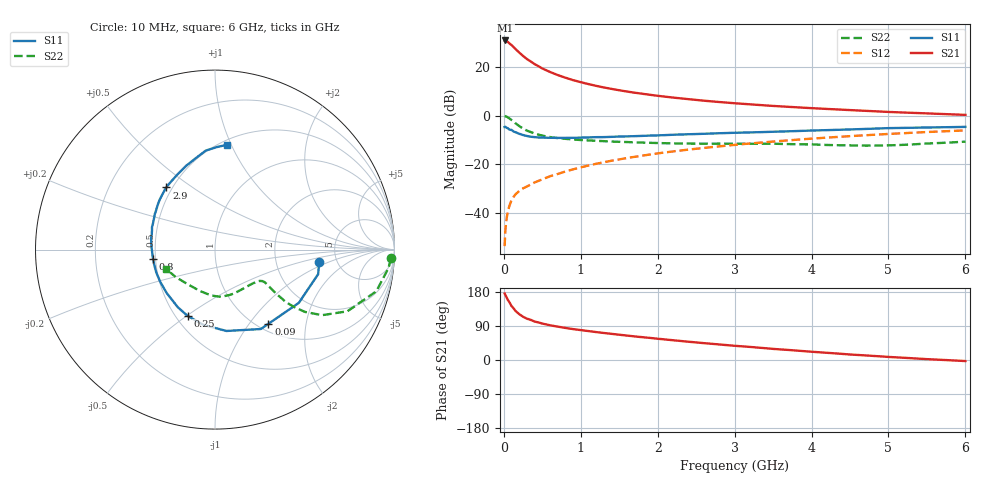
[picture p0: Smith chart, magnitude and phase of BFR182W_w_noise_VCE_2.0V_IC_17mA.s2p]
! Infineon Technologies  Discrete & RF Semiconductors
! BFR182W
! VCE =  2.0 V,  IC =  17 mA
! Common Emitter S-Parameters:  Jan 2017
# GHz  S  MA  R  50
!  f  S11  S21  S12  S22
! GHz  MAG  ANG  MAG  ANG  MAG  ANG  MAG  ANG
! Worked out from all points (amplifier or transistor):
!   77 points, 10 MHz to 6 GHz, reference 50 ohm
!   highest |S21| = 30.8 dB at 20 MHz (marker M1)
!   |S21| within 3 dB of that: start of sweep to 135.6 MHz
!   unconditionally stable (mu >= 1): 750.9 MHz to 2.459 GHz
!   at 130 MHz: K = 0.40, MSG = 30.6 dB, |S12| = -33.2 dB
!   at 2.2 GHz: K = 1.02, MAG = 10.3 dB, |S12| = -14.7 dB
!   at 6 GHz: K = 0.88, MSG = 3.2 dB, |S12| = -6.1 dB
!   lowest NFmin = 1.32 dB at 450 MHz
!   S11 on the Smith chart (normalised r, x): 10 MHz: 3.64, -0.77; 90 MHz: 1.12, -1.25; 250 MHz: 0.57, -0.50; 800 MHz: 0.48, -0.05; 2.9 GHz: 0.47, +0.40; 6 GHz: 0.54, +0.96
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0.01  0.5847 -6.8  34.63 175.6  0.0021 80.9  0.982 -2.8
0.02  0.5908 -13.4  34.8 171.5  0.0045 92.5  0.972 -6.1
0.05  0.5534 -32.4  32.7 159.2  0.0106 78.4  0.9283 -14.5
0.09  0.5093 -54.2  28.78 146.1  0.0168 70.8  0.8332 -22.8
0.1  0.5108 -60.0  28.07 142.3  0.0184 69.7  0.8125 -25.1
0.15  0.4579 -82.0  23.42 129.9  0.0242 64.2  0.6988 -31.5
0.2  0.4241 -98.8  19.64 121.0  0.0284 62.4  0.6101 -34.7
0.25  0.3996 -112.5  16.75 114.1  0.0323 61.2  0.5429 -36.0
0.3  0.3822 -122.8  14.47 109.1  0.0351 61.8  0.4921 -36.5
0.4  0.362 -138.1  11.37 101.5  0.0426 62.9  0.4286 -35.9
0.5  0.3541 -149.7  9.282 96.1  0.0493 64.7  0.3885 -35.0
0.6  0.351 -158.6  7.858 91.7  0.0571 65.9  0.3632 -34.2
0.8  0.3493 -171.8  5.993 84.6  0.0715 68.5  0.3339 -33.3
0.9  0.3501 -176.9  5.346 81.6  0.079 68.0  0.3239 -33.4
1.1  0.3569 173.9  4.431 76.3  0.0947 68.9  0.3101 -34.4
1.5  0.3727 160.4  3.31 66.7  0.1263 68.3  0.2899 -38.6
2.1  0.3986 144.5  2.446 54.2  0.176 65.3  0.2716 -49.8
2.9  0.4396 128.0  1.847 39.3  0.2425 59.7  0.2658 -69.1
3.1  0.4481 124.2  1.749 36.0  0.2595 58.0  0.265 -73.8
4.1  0.4989 107.4  1.397 20.4  0.3454 49.3  0.253 -97.7
5.1  0.5569 94.0  1.173 7.0  0.4284 39.4  0.2482 -131.9
6  0.5872 83.6  1.035 -2.8  0.4979 30.0  0.2928 -158.6
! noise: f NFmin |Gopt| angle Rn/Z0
0.45  1.32  0.06  165  0.15
0.9  1.38  0.07  166  0.15
1.9  1.89  0.25  -146  0.15
2.4  2.15  0.25  -131  0.24
